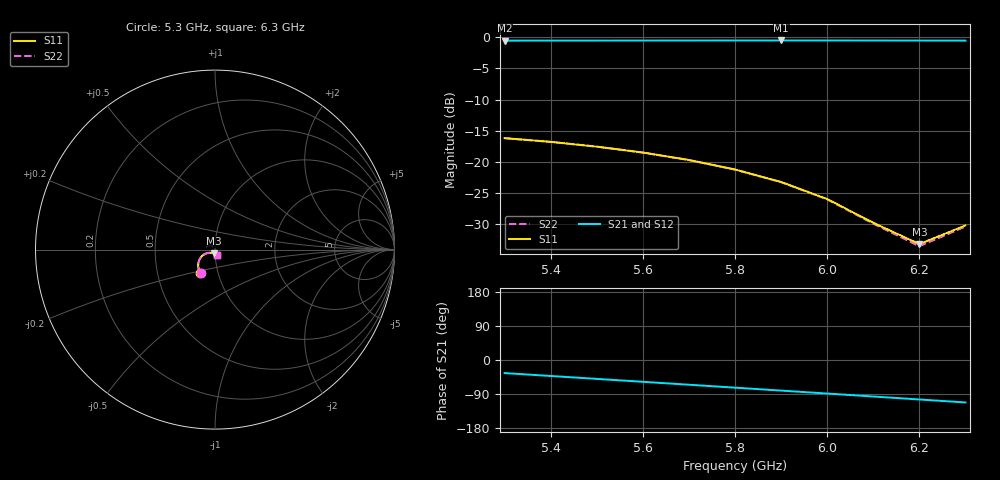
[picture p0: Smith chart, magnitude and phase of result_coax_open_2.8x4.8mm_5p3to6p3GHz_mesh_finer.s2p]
! PCB epsilon-r=4.5, loss tangent 0.02; fixed finer mesh
! 2.8 x 4.8 mm L2 windows; L3/Bottom intact; coax reference planes
! 11 direct FEM points; connectors included
# Hz S RI R 50
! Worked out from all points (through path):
!   11 points, 5.3 GHz to 6.3 GHz, reference 50 ohm
!   highest |S21| = -0.55 dB at 5.9 GHz (marker M1); lowest = -0.6 dB at 5.3 GHz (marker M2)
!   group delay of S21, straight-line fit = 215 ps
!   lowest |S11| = -33.1 dB at 6.2 GHz (marker M3), VSWR 1.05, Z = 49.2 - j2.02 ohm
!   |S11| at or under -10 dB: start of sweep to end of sweep
!   |S22| runs from -33.5 to -16.2 dB; largest |S21 - S12| = 1.4e-12
5.3e9  -0.0814 -0.1322  0.7708 -0.5304  0.7708 -0.5304  -0.0807 -0.1325
5.4e9  -0.09 -0.1135  0.6937 -0.6287  0.6937 -0.6287  -0.0895 -0.1138
5.5e9  -0.0939 -0.0938  0.6042 -0.7161  0.6042 -0.7161  -0.0935 -0.0941
5.6e9  -0.0929 -0.0744  0.5033 -0.7911  0.5033 -0.7911  -0.0926 -0.0746
5.7e9  -0.0872 -0.0563  0.3929 -0.852  0.3929 -0.852  -0.087 -0.0563
5.8e9  -0.0771 -0.0405  0.2748 -0.8976  0.2748 -0.8976  -0.077 -0.0404
5.9e9  -0.0631 -0.0283  0.1511 -0.9266  0.1511 -0.9266  -0.063 -0.028
6e9  -0.0462 -0.0204  0.0241 -0.9384  0.0241 -0.9384  -0.0461 -0.0199
6.1e9  -0.0275 -0.0177  -0.1036 -0.9324  -0.1036 -0.9324  -0.0272 -0.017
6.2e9  -0.00801 -0.0205  -0.2296 -0.9086  -0.2296 -0.9086  -0.00767 -0.0198
6.3e9  0.0107 -0.0291  -0.3511 -0.8673  -0.3511 -0.8673  0.0112 -0.0283
